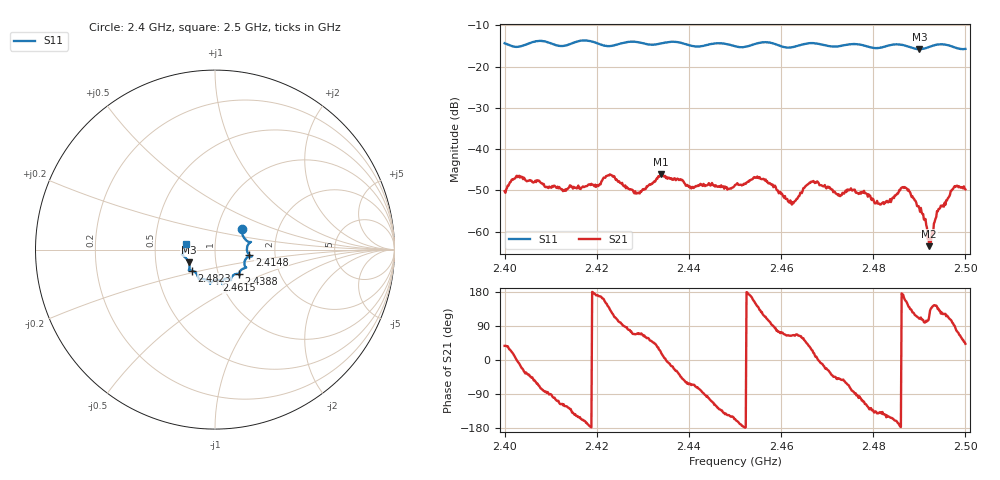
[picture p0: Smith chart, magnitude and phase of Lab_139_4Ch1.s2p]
# Hz S RI R 50
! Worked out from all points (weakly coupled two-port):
!   601 points, 2.4 GHz to 2.5 GHz, reference 50 ohm
!   highest |S21| = -46.04 dB at 2.434 GHz (marker M1); lowest = -63.5 dB at 2.4922 GHz (marker M2)
!   lowest |S11| = -15.8 dB at 2.49 GHz (marker M3), VSWR 1.39, Z = 36.9 - j5.29 ohm
!   |S11| at or under -10 dB: start of sweep to end of sweep
!   S12 and S22 are empty: the file has one direction only
!   S11 on the Smith chart (normalised r, x): 2.4 GHz: 1.32, +0.32; 2.4148 GHz: 1.47, -0.10; 2.4388 GHz: 1.25, -0.36; 2.4615 GHz: 0.97, -0.34; 2.4823 GHz: 0.75, -0.18; 2.5 GHz: 0.72, +0.04
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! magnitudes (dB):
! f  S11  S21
! 2.4 GHz  -14.3  -50.2
! 2.403 GHz  -15.2  -46.7
! 2.4148 GHz  -14.3  -49.5
! 2.4167 GHz  -13.7  -49.3
! 2.4228 GHz  -15.0  -46.1
! 2.429 GHz  -14.1  -50.5
! 2.4333 GHz  -14.5  -46.6
! 2.434 GHz  -14.4  -46.0
! 2.4388 GHz  -14.4  -47.9
! 2.45 GHz  -15.1  -48.7
! 2.4553 GHz  -14.2  -46.8
! 2.4615 GHz  -15.4  -52.6
! 2.4628 GHz  -15.2  -52.8
! 2.4667 GHz  -14.3  -47.9
! 2.4823 GHz  -15.2  -53.3
! 2.4833 GHz  -14.9  -52.8
! 2.4868 GHz  -14.9  -49.2
! 2.49 GHz  -15.8  -54.3
! 2.4922 GHz  -15.2  -63.5
! 2.4943 GHz  -14.6  -54.5
! 2.4973 GHz  -15.2  -49.6
! 2.5 GHz  -15.7  -49.7
